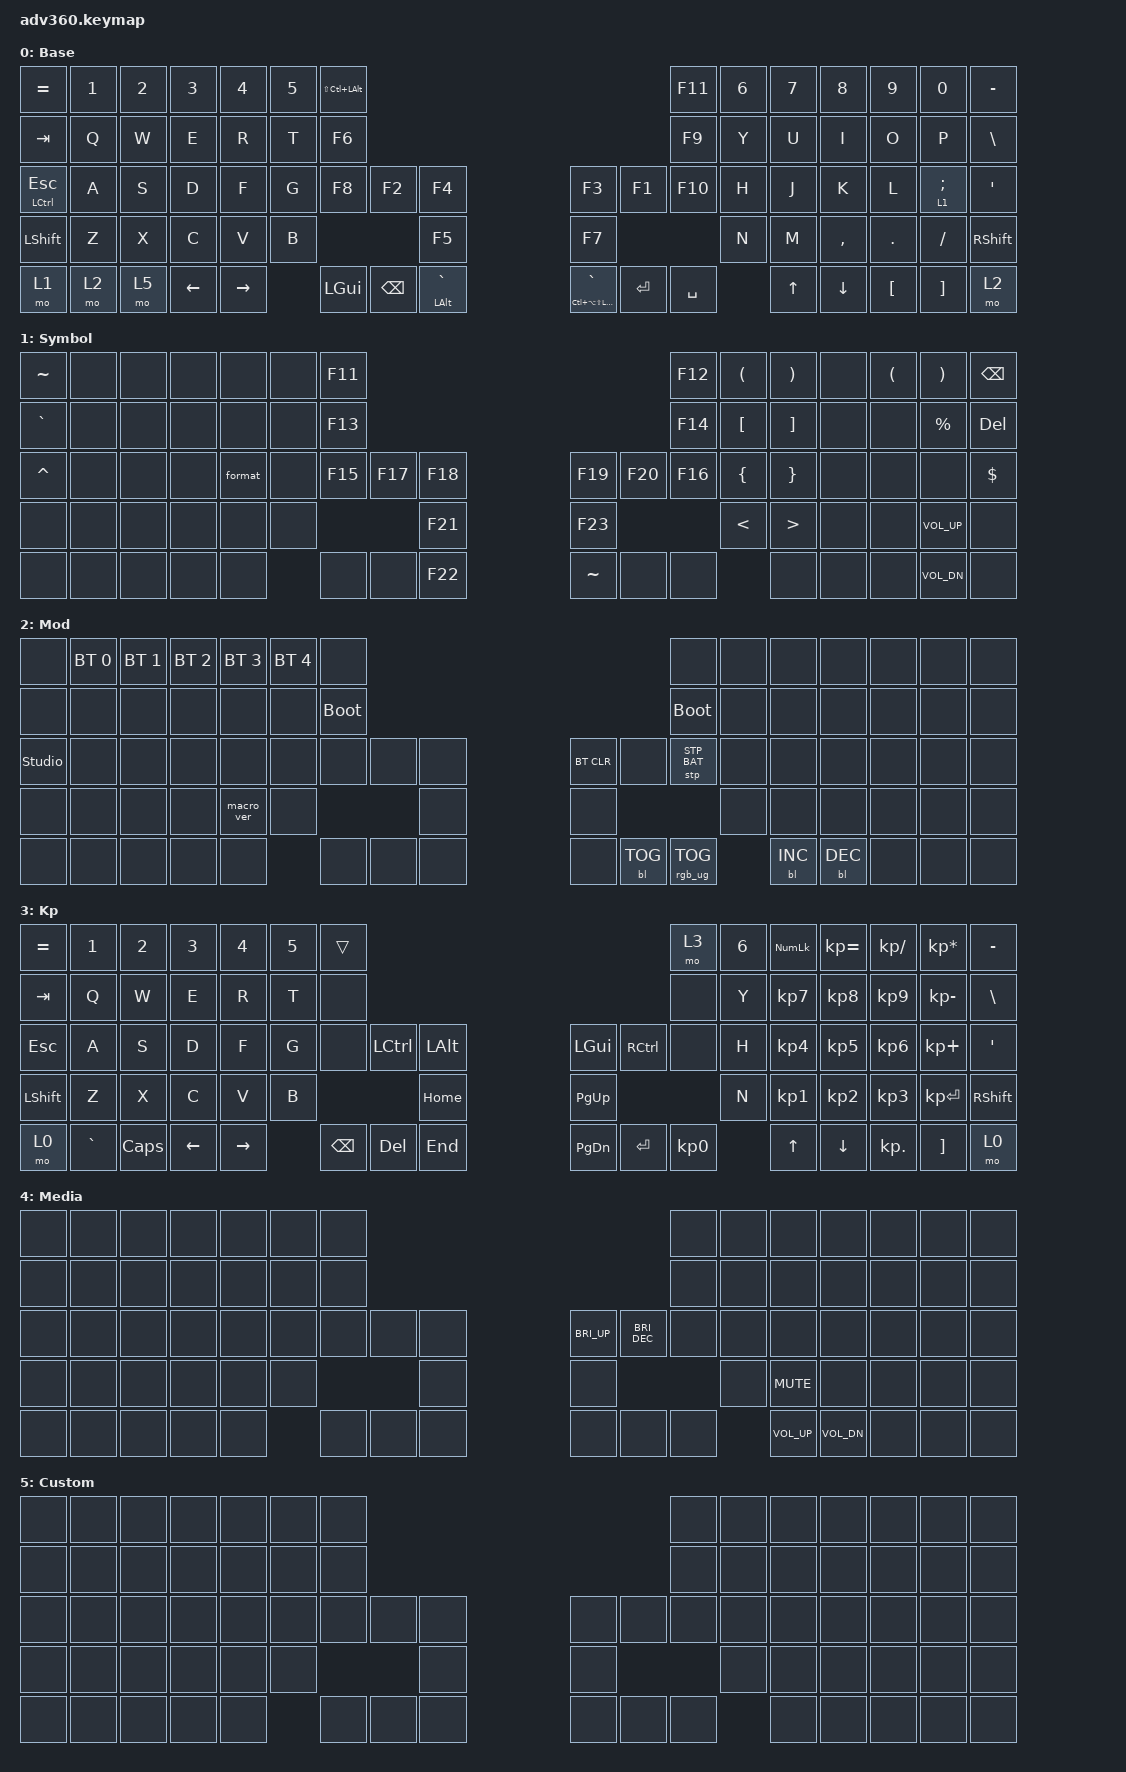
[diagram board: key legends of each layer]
#include <dt-bindings/zmk/stp.h>
#include <behaviors.dtsi>
#include <dt-bindings/zmk/backlight.h>
#include <dt-bindings/zmk/bt.h>
#include <dt-bindings/zmk/keys.h>
#include <dt-bindings/zmk/rgb.h>

/ {
    behaviors {
        #include "macros.dtsi"
      #include "version.dtsi"

        hm: homerow_mods {
            compatible = "zmk,behavior-hold-tap";
            label = "HOMEROW_MODS";
            #binding-cells = <2>;
            tapping-term-ms = <200>;
            flavor = "balanced";
            bindings = <&kp>, <&kp>;

            quick-tap-ms = <150>;
            hold-trigger-on-release;
        };

        home_row: home_row {
            compatible = "zmk,behavior-hold-tap";
            label = "HOME_ROW";
            bindings = <&kp>, <&kp>;

            #binding-cells = <2>;
            tapping-term-ms = <110>;
            flavor = "tap-preferred";
            quick-tap-ms = <80>;
            require-prior-idle-ms = <100>;
        };

        mo_tap: mo_tap {
            compatible = "zmk,behavior-hold-tap";
            label = "MO_TAP";
            bindings = <&mo>, <&kp>;

            #binding-cells = <2>;
            tapping-term-ms = <200>;
            flavor = "balanced";
        };

        fast_tap: fast_tap {
            compatible = "zmk,behavior-hold-tap";
            label = "FAST_TAP";
            bindings = <&kp>, <&kp>;

            #binding-cells = <2>;
            flavor = "tap-preferred";
            tapping-term-ms = <135>;
            quick-tap-ms = <110>;
            require-prior-idle-ms = <150>;
        };

        ctrl_esc: ctrl_esc {
            compatible = "zmk,behavior-hold-tap";
            label = "CTRL_ESC";
            bindings = <&kp>, <&kp>;

            #binding-cells = <2>;
            flavor = "hold-preferred";
            tapping-term-ms = <200>;
        };

        thumb_mod: thumb_mod {
            compatible = "zmk,behavior-hold-tap";
            label = "THUMB_MOD";
            bindings = <&kp>, <&kp>;

            #binding-cells = <2>;
            flavor = "tap-preferred";
            tapping-term-ms = <240>;
            quick-tap-ms = <180>;
        };
    };

    combos { compatible = "zmk,combos"; };

    macros {
        format: format {
            compatible = "zmk,behavior-macro";
            #binding-cells = <0>;
            bindings =
                <&macro_press>,
                <&kp LS(LA(LC(LEFT_GUI)))>,
                <&macro_tap>,
                <&kp F>,
                <&macro_release>,
                <&kp LS(LA(LC(LEFT_GUI)))>;

            label = "FORMAT";
            wait-ms = <10>;
        };

        next_window: next_window {
            compatible = "zmk,behavior-macro";
            #binding-cells = <0>;
            bindings =
                <&macro_press>,
                <&kp LS(LA(LC(LEFT_GUI)))>,
                <&macro_tap>,
                <&kp F7>,
                <&macro_release>,
                <&kp LS(LA(LC(LEFT_GUI)))>;

            label = "NEXT_WINDOW";
            wait-ms = <10>;
        };

        vim: vim {
            compatible = "zmk,behavior-macro";
            #binding-cells = <0>;
            bindings =
                <&macro_press>,
                <&kp LS(LA(LC(LEFT_GUI)))>,
                <&macro_tap>,
                <&kp V>,
                <&macro_release>,
                <&kp LS(LA(LC(LEFT_GUI)))>;

            label = "VIM";
            wait-ms = <10>;
        };
    };

    keymap {
        compatible = "zmk,keymap";

        base {
            display-name = "Base";
            bindings = <
&kp EQUAL                      &kp N1  &kp N2  &kp N3    &kp N4     &kp N5  &kp LS(LC(LEFT_ALT))                                                                                              &kp F11    &kp N6  &kp N7  &kp N8     &kp N9    &kp N0               &kp MINUS
&kp TAB                        &kp Q   &kp W   &kp E     &kp R      &kp T   &kp F6                                                                                                            &kp F9     &kp Y   &kp U   &kp I      &kp O     &kp P                &kp BACKSLASH
&ctrl_esc LEFT_CONTROL ESCAPE  &kp A   &kp S   &kp D     &kp F      &kp G   &kp F8                &kp F2         &kp F4                         &kp F3                             &kp F1     &kp F10    &kp H   &kp J   &kp K      &kp L     &mo_tap 1 SEMICOLON  &kp SQT
&kp LEFT_SHIFT                 &kp Z   &kp X   &kp C     &kp V      &kp B                                        &kp F5                         &kp F7                                                   &kp N   &kp M   &kp COMMA  &kp DOT   &kp FSLH             &kp RIGHT_SHIFT
&mo 1                          &mo 2   &mo 5   &kp LEFT  &kp RIGHT          &kp LGUI              &kp BACKSPACE  &thumb_mod LEFT_ALT GRAVE      &thumb_mod LC(LA(LS(LGUI))) GRAVE  &kp ENTER  &kp SPACE          &kp UP  &kp DOWN   &kp LBKT  &kp RBKT             &mo 2
            >;
        };

        symbol {
            display-name = "Symbol";
            bindings = <
&kp TILDE  &none  &none  &none  &none    &none  &kp F11                                            &kp F12  &kp LEFT_PARENTHESIS  &kp RIGHT_PARENTHESIS  &none  &kp LEFT_PARENTHESIS  &kp RIGHT_PARENTHESIS  &kp BACKSPACE
&kp GRAVE  &none  &none  &none  &none    &none  &kp F13                                            &kp F14  &kp LEFT_BRACKET      &kp RIGHT_BRACKET      &none  &none                 &kp PERCENT            &kp DEL
&kp CARET  &none  &none  &none  &format  &none  &kp F15  &kp F17  &kp F18      &kp F19    &kp F20  &kp F16  &kp LEFT_BRACE        &kp RIGHT_BRACE        &none  &none                 &none                  &kp DOLLAR
&none      &none  &none  &none  &none    &none                    &kp F21      &kp F23                      &kp LESS_THAN         &kp GREATER_THAN       &none  &none                 &kp C_VOL_UP           &none
&none      &none  &none  &none  &none           &none    &none    &kp F22      &kp TILDE  &none    &none                          &none                  &none  &none                 &kp C_VOL_DN           &none
            >;
        };

        mod {
            display-name = "Mod";
            bindings = <
&none           &bt BT_SEL 0  &bt BT_SEL 1  &bt BT_SEL 2  &bt BT_SEL 3  &bt BT_SEL 4  &none                                                  &none            &none  &none       &none       &none  &none  &none
&none           &none         &none         &none         &none         &none         &bootloader                                            &bootloader      &none  &none       &none       &none  &none  &none
&studio_unlock  &none         &none         &none         &none         &none         &none        &none  &none      &bt BT_CLR  &none       &stp STP_BAT     &none  &none       &none       &none  &none  &none
&none           &none         &none         &none         &macro_ver    &none                             &none      &none                                    &none  &none       &none       &none  &none  &none
&none           &none         &none         &none         &none                       &none        &none  &none      &none       &bl BL_TOG  &rgb_ug RGB_TOG         &bl BL_INC  &bl BL_DEC  &none  &none  &none
            >;
        };

        keypad {
            display-name = "Kp";
            bindings = <
&kp EQUAL  &kp N1     &kp N2    &kp N3    &kp N4     &kp N5  &trans                                                   &mo 3      &kp N6  &kp KP_NUM  &kp KP_EQUAL  &kp KP_DIVIDE  &kp KP_MULTIPLY  &kp MINUS
&kp TAB    &kp Q      &kp W     &kp E     &kp R      &kp T   &none                                                    &none      &kp Y   &kp KP_N7   &kp KP_N8     &kp KP_N9      &kp KP_MINUS     &kp BSLH
&kp ESC    &kp A      &kp S     &kp D     &kp F      &kp G   &none     &kp LCTRL  &kp LALT      &kp LGUI   &kp RCTRL  &none      &kp H   &kp KP_N4   &kp KP_N5     &kp KP_N6      &kp KP_PLUS      &kp SQT
&kp LSHFT  &kp Z      &kp X     &kp C     &kp V      &kp B                        &kp HOME      &kp PG_UP                        &kp N   &kp KP_N1   &kp KP_N2     &kp KP_N3      &kp KP_ENTER     &kp RSHFT
&mo 0      &kp GRAVE  &kp CAPS  &kp LEFT  &kp RIGHT          &kp BSPC  &kp DEL    &kp END       &kp PG_DN  &kp ENTER  &kp KP_N0          &kp UP      &kp DOWN      &kp KP_DOT     &kp RBKT         &mo 0
            >;
        };

        media {
            display-name = "Media";
            bindings = <
&none  &none  &none  &none  &none  &none  &none                                                        &none  &none  &none            &none         &none  &none  &none
&none  &none  &none  &none  &none  &none  &none                                                        &none  &none  &none            &none         &none  &none  &none
&none  &none  &none  &none  &none  &none  &none  &none  &none      &kp C_BRI_UP  &kp C_BRIGHTNESS_DEC  &none  &none  &none            &none         &none  &none  &none
&none  &none  &none  &none  &none  &none                &none      &none                                      &none  &kp K_MUTE       &none         &none  &none  &none
&none  &none  &none  &none  &none         &none  &none  &none      &none         &none                 &none         &kp C_VOLUME_UP  &kp C_VOL_DN  &none  &none  &none
            >;
        };

        Custom {
            bindings = <
&none  &none  &none  &none  &none  &none  &none                                  &none  &none  &none  &none  &none  &none  &none
&none  &none  &none  &none  &none  &none  &none                                  &none  &none  &none  &none  &none  &none  &none
&none  &none  &none  &none  &none  &none  &none  &none  &none      &none  &none  &none  &none  &none  &none  &none  &none  &none
&none  &none  &none  &none  &none  &none                &none      &none                &none  &none  &none  &none  &none  &none
&none  &none  &none  &none  &none         &none  &none  &none      &none  &none  &none         &none  &none  &none  &none  &none
            >;
        };
    };
};
